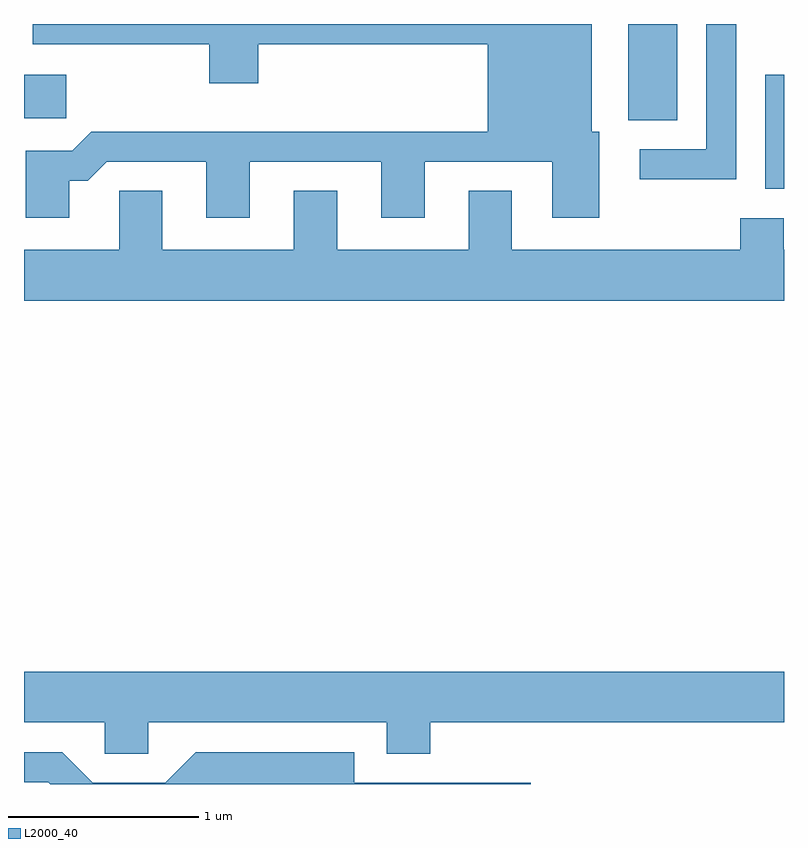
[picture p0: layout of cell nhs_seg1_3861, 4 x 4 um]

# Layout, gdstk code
import gdstk
lib = gdstk.Library(unit=1e-6, precision=1e-09)
def R(c, l, rs):  # rectangles x0, y0, x1, y1
    for r in rs: c.add(gdstk.rectangle(r[:2], r[2:], *l))
def P(c, l, *ps):  # polygons
    for p in ps: c.add(gdstk.Polygon(p, *l))
L2000_40 = (2000, 40)

nhs_seg1_3861 = lib.new_cell('nhs_seg1_3861')
R(nhs_seg1_3861, L2000_40, [(305.511,886.846,305.611,887.444), (304.791,887.206,305.049,887.712), (301.611,887.216,301.834,887.444)])
P(nhs_seg1_3861, L2000_40, [(305.359,887.712),(305.201,887.712),(305.201,887.054),(304.853,887.054),(304.853,886.896),(305.359,886.896)],
  [(301.849,886.886),(301.947,886.886),(302.047,886.986),(302.571,886.986),(302.571,886.691),(302.799,886.691),(302.799,886.986),(303.491,886.986),(303.491,886.691),(303.719,886.691),(303.719,886.986),(304.391,886.986),(304.391,886.691),(304.639,886.691),(304.639,887.144),(304.599,887.144),(304.599,887.712),(301.656,887.712),(301.656,887.606),(302.586,887.606),(302.586,887.401),(302.844,887.401),(302.844,887.606),(304.051,887.606),(304.051,887.144),(301.964,887.144),(301.864,887.044),(301.621,887.044),(301.621,886.691),(301.849,886.691)],
  [(305.611,886.524),(305.609,886.524),(305.609,886.689),(305.381,886.689),(305.381,886.524),(304.179,886.524),(304.179,886.834),(303.951,886.834),(303.951,886.524),(303.259,886.524),(303.259,886.834),(303.031,886.834),(303.031,886.524),(302.339,886.524),(302.339,886.834),(302.111,886.834),(302.111,886.524),(301.611,886.524),(301.611,886.256),(305.611,886.256)],
  [(302.264,884.036),(303.521,884.036),(303.521,883.871),(303.749,883.871),(303.749,884.036),(305.611,884.036),(305.611,884.304),(301.611,884.304),(301.611,884.036),(302.036,884.036),(302.036,883.871),(302.264,883.871)],
  [(304.278,883.719),(303.349,883.719),(303.349,883.879),(302.514,883.879),(302.354,883.719),(301.972,883.719),(301.812,883.879),(301.611,883.879),(301.611,883.721),(301.739,883.721),(301.748,883.712),(304.278,883.712)])

lib.write_gds('nhs_seg1_3861.gds')
